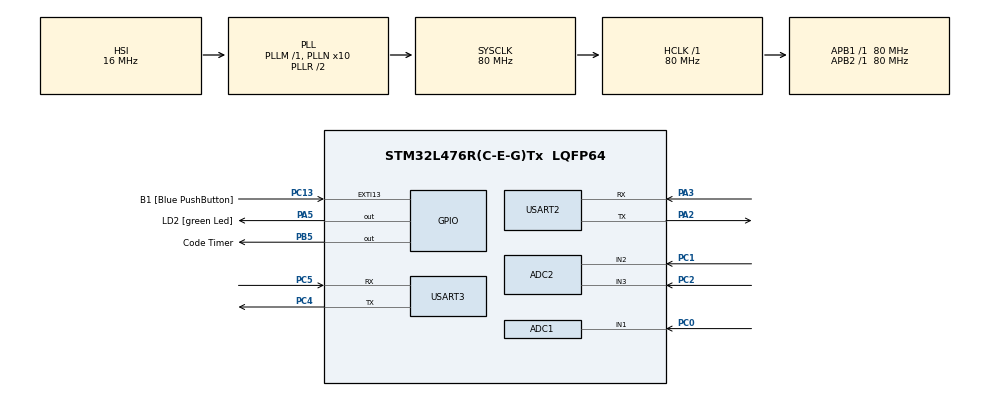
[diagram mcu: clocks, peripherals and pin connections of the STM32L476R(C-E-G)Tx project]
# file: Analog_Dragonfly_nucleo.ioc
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ADC1.Channel-3\#ChannelRegularConversion=ADC_CHANNEL_1
ADC1.ClockPrescaler=ADC_CLOCK_ASYNC_DIV64
ADC1.ContinuousConvMode=ENABLE
ADC1.DMAContinuousRequests=ENABLE
ADC1.EnableRegularConversion=ENABLE
ADC1.NbrOfConversionFlag=1
ADC1.OffsetNumber-3\#ChannelRegularConversion=ADC_OFFSET_NONE
ADC1.OversamplingMode=DISABLE
ADC1.Rank-3\#ChannelRegularConversion=1
ADC1.SamplingTime-3\#ChannelRegularConversion=ADC_SAMPLETIME_640CYCLES_5
ADC1.master=1
ADC2.Channel-0\#ChannelRegularConversion=ADC_CHANNEL_2
ADC2.Channel-1\#ChannelRegularConversion=ADC_CHANNEL_3
ADC2.ClockPrescaler=ADC_CLOCK_ASYNC_DIV64
ADC2.ContinuousConvMode=ENABLE
ADC2.NbrOfConversion=2
ADC2.NbrOfConversionFlag=1
ADC2.OffsetNumber-0\#ChannelRegularConversion=ADC_OFFSET_NONE
ADC2.OffsetNumber-1\#ChannelRegularConversion=ADC_OFFSET_NONE
ADC2.Rank-0\#ChannelRegularConversion=1
ADC2.Rank-1\#ChannelRegularConversion=2
ADC2.SamplingTime-0\#ChannelRegularConversion=ADC_SAMPLETIME_247CYCLES_5
ADC2.SamplingTime-1\#ChannelRegularConversion=ADC_SAMPLETIME_247CYCLES_5
ARM.CMSIS.5.6.0.CMSISJjCORE=true
ARM.CMSIS.5.6.0.CMSISJjDSP=Library
Dma.ADC1.0.Direction=DMA_PERIPH_TO_MEMORY
Dma.ADC1.0.Instance=DMA1_Channel1
Dma.ADC1.0.MemDataAlignment=DMA_MDATAALIGN_HALFWORD
Dma.ADC1.0.MemInc=DMA_MINC_ENABLE
Dma.ADC1.0.Mode=DMA_CIRCULAR
Dma.ADC1.0.PeriphDataAlignment=DMA_PDATAALIGN_HALFWORD
Dma.ADC1.0.PeriphInc=DMA_PINC_DISABLE
Dma.ADC1.0.Priority=DMA_PRIORITY_LOW
Dma.ADC2.1.Direction=DMA_PERIPH_TO_MEMORY
Dma.ADC2.1.Instance=DMA1_Channel2
Dma.ADC2.1.MemDataAlignment=DMA_MDATAALIGN_HALFWORD
Dma.ADC2.1.MemInc=DMA_MINC_ENABLE
Dma.ADC2.1.Mode=DMA_CIRCULAR
Dma.ADC2.1.PeriphDataAlignment=DMA_PDATAALIGN_HALFWORD
Dma.ADC2.1.PeriphInc=DMA_PINC_DISABLE
Dma.ADC2.1.Priority=DMA_PRIORITY_LOW
Dma.Request0=ADC1
Dma.Request1=ADC2
Mcu.Family=STM32L4
Mcu.Name=STM32L476R(C-E-G)Tx
Mcu.Package=LQFP64
NVIC.DMA1_Channel1_IRQn=true\:0\:0\:false\:false\:true\:false\:true
NVIC.DMA1_Channel2_IRQn=true\:0\:0\:false\:false\:true\:false\:true
NVIC.PriorityGroup=NVIC_PRIORITYGROUP_4
PA13\ (JTMS-SWDIO).GPIO_Label=TMS
PA13\ (JTMS-SWDIO).Mode=Serial_Wire
PA13\ (JTMS-SWDIO).Signal=SYS_JTMS-SWDIO
PA14\ (JTCK-SWCLK).GPIO_Label=TCK
PA14\ (JTCK-SWCLK).Mode=Serial_Wire
PA14\ (JTCK-SWCLK).Signal=SYS_JTCK-SWCLK
PA2.Mode=Asynchronous
PA2.Signal=USART2_TX
PA3.Mode=Asynchronous
PA3.Signal=USART2_RX
PA5.GPIO_Label=LD2 [green Led]
PA5.GPIO_ModeDefaultOutputPP=GPIO_MODE_OUTPUT_PP
PA5.GPIO_PuPd=GPIO_NOPULL
PA5.GPIO_Speed=GPIO_SPEED_FREQ_LOW
PA5.Signal=GPIO_Output
PB3\ (JTDO-TRACESWO).Signal=SYS_JTDO-SWO
PB5.GPIO_Label=Code Timer
PB5.GPIO_Speed=GPIO_SPEED_FREQ_VERY_HIGH
PB5.Signal=GPIO_Output
PC0.Signal=ADCx_IN1
PC1.Signal=ADCx_IN2
PC13.GPIO_Label=B1 [Blue PushButton]
PC13.GPIO_ModeDefaultEXTI=GPIO_MODE_IT_FALLING
PC13.GPIO_PuPd=GPIO_NOPULL
PC13.Signal=GPXTI13
PC14-OSC32_IN\ (PC14).Mode=LSE-External-Oscillator
PC14-OSC32_IN\ (PC14).Signal=RCC_OSC32_IN
PC15-OSC32_OUT\ (PC15).Mode=LSE-External-Oscillator
PC15-OSC32_OUT\ (PC15).Signal=RCC_OSC32_OUT
PC2.Signal=ADCx_IN3
PC4.Mode=Asynchronous
PC4.Signal=USART3_TX
PC5.Mode=Asynchronous
PC5.Signal=USART3_RX
PH0-OSC_IN\ (PH0).Signal=RCC_OSC_IN
PH1-OSC_OUT\ (PH1).Signal=RCC_OSC_OUT
ProjectManager.HeapSize=0x200
ProjectManager.StackSize=0x400
ProjectManager.TargetToolchain=STM32CubeIDE
RCC.ADCFreq_Value=64000000
RCC.AHBFreq_Value=80000000
RCC.APB1Freq_Value=80000000
RCC.APB1TimFreq_Value=80000000
RCC.APB2Freq_Value=80000000
RCC.APB2TimFreq_Value=80000000
RCC.CortexFreq_Value=80000000
RCC.HCLKFreq_Value=80000000
RCC.HSE_VALUE=8000000
RCC.HSI_VALUE=16000000
RCC.MSI_VALUE=4000000
RCC.PLLN=10
RCC.PLLSourceVirtual=RCC_PLLSOURCE_HSI
RCC.PREFETCH_ENABLE=1
RCC.SYSCLKFreq_VALUE=80000000
RCC.SYSCLKSource=RCC_SYSCLKSOURCE_PLLCLK
RCC.USBFreq_Value=64000000
RCC.VCOOutputFreq_Value=160000000
SH.ADCx_IN1.0=ADC1_IN1,IN1-Single-Ended
SH.ADCx_IN2.0=ADC2_IN2,IN2-Single-Ended
SH.ADCx_IN3.0=ADC2_IN3,IN3-Single-Ended
USART2.VirtualMode-Asynchronous=VM_ASYNC
USART3.VirtualMode-Asynchronous=VM_ASYNC
VP_ARM.CMSIS_VS_CMSISJjCORE_5.3.0.Mode=CMSISJjCORE
VP_ARM.CMSIS_VS_CMSISJjDSP_1.7.0.Mode=CMSISJjDSP
board=NUCLEO-L476RG

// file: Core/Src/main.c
/* USER CODE BEGIN Header */
/**
  ******************************************************************************
  * @file           : main.c
  * @brief          : Main program body
  ******************************************************************************
  * @attention
  *
  * <h2><center>&copy; Copyright (c) 2020 STMicroelectronics.
  * All rights reserved.</center></h2>
  *
  * This software component is licensed by ST under BSD 3-Clause license,
  * the "License"; You may not use this file except in compliance with the
  * License. You may obtain a copy of the License at:
  *                        opensource.org/licenses/BSD-3-Clause
  *
  ******************************************************************************
  */
/* USER CODE END Header */

#include "main.h"

/* USER CODE BEGIN Includes */

#include "arm_math.h"
#include "arm_const_structs.h"

/* USER CODE END Includes */

/* USER CODE BEGIN PD */

#define GEOPHONE_LENGTH_CMPLT_DMA_TRANSFER 128
#define GEOPHONE_FFT_LENGTH 64
#define GEOPHONE_BIT_DEPTH 12
/* USER CODE END PD */

ADC_HandleTypeDef hadc1;
ADC_HandleTypeDef hadc2;
DMA_HandleTypeDef hdma_adc1;
DMA_HandleTypeDef hdma_adc2;

UART_HandleTypeDef huart2;
UART_HandleTypeDef huart3;

/* USER CODE BEGIN PV */

uint32_t DMAConvCplt = 0;
uint32_t ADC1_DMAConvHalfCplt = 0;
uint32_t ADC1_DMAConvFullCplt = 0;
uint16_t geophone_half_transfer[GEOPHONE_LENGTH_CMPLT_DMA_TRANSFER/2];
float32_t geophone_half_transfer_f32[GEOPHONE_LENGTH_CMPLT_DMA_TRANSFER/2];
float32_t geophone_rolling_fft_sum[GEOPHONE_LENGTH_CMPLT_DMA_TRANSFER/4];
float32_t geophone_rolling_fft_avg[GEOPHONE_LENGTH_CMPLT_DMA_TRANSFER/4];
uint32_t geophone_new_data = 0;
uint32_t geophone_rolling_fft_sum_Ctr = 0;
float32_t tempBuffer[GEOPHONE_FFT_LENGTH/2];
float32_t geophone_rolling_average = 25.0;

float32_t firstHalf_MaxResult = 0;
uint32_t firstHalf_MaxIndex = 0;
float32_t firstHalf_meanResult = 0;
float32_t firstHalf_stdResult = 0;
float32_t firstHalf_rmsResult = 0;
float32_t firstHalf_powerResult = 0;

uint8_t ifftFlag = 0;
uint8_t bitReverseFlag = 1;
float32_t geophone_cfft_output[GEOPHONE_FFT_LENGTH*2];
float32_t geophone_cfft_output_mag[GEOPHONE_FFT_LENGTH];
uint32_t maxIndex = 0;
float32_t maxValue = 0.0;

char WELCOME_MSG[50] = "Welcome to Terminal Message from STM32\r\n";
char msg[64];

/* USER CODE END PV */

void SystemClock_Config(void);
static void MX_GPIO_Init(void);
static void MX_DMA_Init(void);
static void MX_USART2_UART_Init(void);
static void MX_ADC1_Init(void);
static void MX_ADC2_Init(void);
static void MX_USART3_UART_Init(void);

int main(void)
{

  /* MCU Configuration--------------------------------------------------------*/

  /* Reset of all peripherals, Initializes the Flash interface and the Systick. */
  HAL_Init();

  /* Configure the system clock */
  SystemClock_Config();

  /* Initialize all configured peripherals */
  MX_GPIO_Init();
  MX_DMA_Init();
  MX_USART2_UART_Init();
  MX_ADC1_Init();
  MX_ADC2_Init();
  MX_USART3_UART_Init();
  /* USER CODE BEGIN 2 */

  HAL_GPIO_WritePin(GPIOB,GPIO_PIN_5,GPIO_PIN_RESET);

  arm_status status;
  status = ARM_MATH_SUCCESS;
  uint32_t geophone_value_range = pow(2, GEOPHONE_BIT_DEPTH);

  // Start ADC DMA transfers
  HAL_ADC_Start_DMA(&hadc1, geophone_half_transfer, GEOPHONE_LENGTH_CMPLT_DMA_TRANSFER);

  /* USER CODE END 2 */

  /* Infinite loop */
  while (1)
  {

    /* USER CODE BEGIN 3 */

	  //sprintf(msg, "%d\r\n", DMAConvCplt);
	  //HAL_UART_Transmit(&huart2, (uint8_t*)msg, strlen(msg), HAL_MAX_DELAY);
	  //HAL_Delay(1000);

	  if (ADC1_DMAConvHalfCplt == 1){
		  HAL_GPIO_TogglePin(GPIOB, GPIO_PIN_5);

		  // Convert 16bit integers into 0-1 range float_32bit
		  for (uint32_t i = 0; i < GEOPHONE_LENGTH_CMPLT_DMA_TRANSFER/2; i++){
			  geophone_half_transfer_f32[i] = (float32_t)geophone_half_transfer[i] / geophone_value_range;
		  }

		  // Get basic Statistics of waveform
		  arm_mean_f32(geophone_half_transfer_f32, GEOPHONE_LENGTH_CMPLT_DMA_TRANSFER/2, &firstHalf_meanResult);
		  arm_rms_f32(geophone_half_transfer_f32, GEOPHONE_LENGTH_CMPLT_DMA_TRANSFER/2, &firstHalf_rmsResult);
		  arm_std_f32(geophone_half_transfer_f32, GEOPHONE_LENGTH_CMPLT_DMA_TRANSFER/2, &firstHalf_stdResult);
		  arm_power_f32(geophone_half_transfer_f32, GEOPHONE_LENGTH_CMPLT_DMA_TRANSFER/2, &firstHalf_powerResult);

		  // START FFT PREP
		  // Fill array with zeros
		  arm_fill_f32(0.0, &geophone_cfft_output, GEOPHONE_FFT_LENGTH*2);
		  // Fill array with geophone data, every other position, to create complex pair
		  for (int i = 0; i < GEOPHONE_FFT_LENGTH*2; i+=2){
			  geophone_cfft_output[i] = geophone_half_transfer_f32[i/2];
		  }
		  /* Process the data through the CFFT/CIFFT module */
		  arm_cfft_f32(&arm_cfft_sR_f32_len64, geophone_cfft_output, ifftFlag, bitReverseFlag);

		  /* Process the data through the Complex Magnitude Module for calculating the magnitude at each bin */
		  arm_cmplx_mag_f32(geophone_cfft_output, geophone_cfft_output_mag, GEOPHONE_FFT_LENGTH);

		  /* Calculates maxValue and returns corresponding BIN value */
		  // Skip first bin as it represents DC offset of the signal
		  arm_max_f32(&geophone_cfft_output_mag[1], (GEOPHONE_FFT_LENGTH/2), &maxValue, &maxIndex);

		  // set the flag so the rolling average functions get ran with the new data
		  geophone_new_data = 1;
		  ADC1_DMAConvHalfCplt = 0;

	 	  }
	 if (ADC1_DMAConvFullCplt == 1){
		 // Repeat FFT code from first half buffer fill above

		 ADC1_DMAConvFullCplt = 0;
	 	}

	 // Perform rolling average calculations here
	 if (geophone_new_data == 1){
		 // Add consecutive FFT outputs together
		 arm_add_f32(geophone_cfft_output_mag, geophone_rolling_fft_sum, geophone_rolling_fft_sum, (GEOPHONE_FFT_LENGTH/2));
		 geophone_rolling_fft_sum_Ctr += 1;
		 // Get avg once enough FFTs are summed
		 if (geophone_rolling_fft_sum_Ctr > geophone_rolling_average){
			 // Perform average
			 // Fill with value = (1/geophone_rolling_average)
			 arm_fill_f32((1/geophone_rolling_average), tempBuffer, (GEOPHONE_FFT_LENGTH/2));
			 // Multiply every element of the rolling_fft_sum buffer by (1/geophone_rolling_average) to get avg
			 arm_mult_f32(geophone_rolling_fft_sum, tempBuffer, geophone_rolling_fft_avg, (GEOPHONE_FFT_LENGTH/2));
			 geophone_rolling_fft_sum_Ctr = 0;
			 // fill rolling_fft_sum buffer with zeros to reset
			 arm_fill_f32(0.0, geophone_rolling_fft_sum, (GEOPHONE_FFT_LENGTH/2));
		 }
		 geophone_new_data = 0;
		 HAL_GPIO_TogglePin(GPIOB, GPIO_PIN_5);
	 }

  }
  /* USER CODE END 3 */
}

void SystemClock_Config(void)
{
  RCC_OscInitTypeDef RCC_OscInitStruct = {0};
  RCC_ClkInitTypeDef RCC_ClkInitStruct = {0};
  RCC_PeriphCLKInitTypeDef PeriphClkInit = {0};

  /** Initializes the CPU, AHB and APB busses clocks
  */
  RCC_OscInitStruct.OscillatorType = RCC_OSCILLATORTYPE_HSI;
  RCC_OscInitStruct.HSIState = RCC_HSI_ON;
  RCC_OscInitStruct.HSICalibrationValue = RCC_HSICALIBRATION_DEFAULT;
  RCC_OscInitStruct.PLL.PLLState = RCC_PLL_ON;
  RCC_OscInitStruct.PLL.PLLSource = RCC_PLLSOURCE_HSI;
  RCC_OscInitStruct.PLL.PLLM = 1;
  RCC_OscInitStruct.PLL.PLLN = 10;
  RCC_OscInitStruct.PLL.PLLP = RCC_PLLP_DIV7;
  RCC_OscInitStruct.PLL.PLLQ = RCC_PLLQ_DIV2;
  RCC_OscInitStruct.PLL.PLLR = RCC_PLLR_DIV2;
  if (HAL_RCC_OscConfig(&RCC_OscInitStruct) != HAL_OK)
  {
    Error_Handler();
  }
  /** Initializes the CPU, AHB and APB busses clocks
  */
  RCC_ClkInitStruct.ClockType = RCC_CLOCKTYPE_HCLK|RCC_CLOCKTYPE_SYSCLK
                              |RCC_CLOCKTYPE_PCLK1|RCC_CLOCKTYPE_PCLK2;
  RCC_ClkInitStruct.SYSCLKSource = RCC_SYSCLKSOURCE_PLLCLK;
  RCC_ClkInitStruct.AHBCLKDivider = RCC_SYSCLK_DIV1;
  RCC_ClkInitStruct.APB1CLKDivider = RCC_HCLK_DIV1;
  RCC_ClkInitStruct.APB2CLKDivider = RCC_HCLK_DIV1;

  if (HAL_RCC_ClockConfig(&RCC_ClkInitStruct, FLASH_LATENCY_4) != HAL_OK)
  {
    Error_Handler();
  }
  PeriphClkInit.PeriphClockSelection = RCC_PERIPHCLK_USART2|RCC_PERIPHCLK_USART3
                              |RCC_PERIPHCLK_ADC;
  PeriphClkInit.Usart2ClockSelection = RCC_USART2CLKSOURCE_PCLK1;
  PeriphClkInit.Usart3ClockSelection = RCC_USART3CLKSOURCE_PCLK1;
  PeriphClkInit.AdcClockSelection = RCC_ADCCLKSOURCE_PLLSAI1;
  PeriphClkInit.PLLSAI1.PLLSAI1Source = RCC_PLLSOURCE_HSI;
  PeriphClkInit.PLLSAI1.PLLSAI1M = 1;
  PeriphClkInit.PLLSAI1.PLLSAI1N = 8;
  PeriphClkInit.PLLSAI1.PLLSAI1P = RCC_PLLP_DIV7;
  PeriphClkInit.PLLSAI1.PLLSAI1Q = RCC_PLLQ_DIV2;
  PeriphClkInit.PLLSAI1.PLLSAI1R = RCC_PLLR_DIV2;
  PeriphClkInit.PLLSAI1.PLLSAI1ClockOut = RCC_PLLSAI1_ADC1CLK;
  if (HAL_RCCEx_PeriphCLKConfig(&PeriphClkInit) != HAL_OK)
  {
    Error_Handler();
  }
  /** Configure the main internal regulator output voltage
  */
  if (HAL_PWREx_ControlVoltageScaling(PWR_REGULATOR_VOLTAGE_SCALE1) != HAL_OK)
  {
    Error_Handler();
  }
}

static void MX_ADC1_Init(void)
{

  ADC_MultiModeTypeDef multimode = {0};
  ADC_ChannelConfTypeDef sConfig = {0};

  /** Common config
  */
  hadc1.Instance = ADC1;
  hadc1.Init.ClockPrescaler = ADC_CLOCK_ASYNC_DIV64;
  hadc1.Init.Resolution = ADC_RESOLUTION_12B;
  hadc1.Init.DataAlign = ADC_DATAALIGN_RIGHT;
  hadc1.Init.ScanConvMode = ADC_SCAN_DISABLE;
  hadc1.Init.EOCSelection = ADC_EOC_SINGLE_CONV;
  hadc1.Init.LowPowerAutoWait = DISABLE;
  hadc1.Init.ContinuousConvMode = ENABLE;
  hadc1.Init.NbrOfConversion = 1;
  hadc1.Init.DiscontinuousConvMode = DISABLE;
  hadc1.Init.NbrOfDiscConversion = 1;
  hadc1.Init.ExternalTrigConv = ADC_SOFTWARE_START;
  hadc1.Init.ExternalTrigConvEdge = ADC_EXTERNALTRIGCONVEDGE_NONE;
  hadc1.Init.DMAContinuousRequests = ENABLE;
  hadc1.Init.Overrun = ADC_OVR_DATA_PRESERVED;
  hadc1.Init.OversamplingMode = DISABLE;
  if (HAL_ADC_Init(&hadc1) != HAL_OK)
  {
    Error_Handler();
  }
  /** Configure the ADC multi-mode
  */
  multimode.Mode = ADC_MODE_INDEPENDENT;
  if (HAL_ADCEx_MultiModeConfigChannel(&hadc1, &multimode) != HAL_OK)
  {
    Error_Handler();
  }
  /** Configure Regular Channel
  */
  sConfig.Channel = ADC_CHANNEL_1;
  sConfig.Rank = ADC_REGULAR_RANK_1;
  sConfig.SamplingTime = ADC_SAMPLETIME_640CYCLES_5;
  sConfig.SingleDiff = ADC_SINGLE_ENDED;
  sConfig.OffsetNumber = ADC_OFFSET_NONE;
  sConfig.Offset = 0;
  if (HAL_ADC_ConfigChannel(&hadc1, &sConfig) != HAL_OK)
  {
    Error_Handler();
  }

}

static void MX_ADC2_Init(void)
{

  ADC_ChannelConfTypeDef sConfig = {0};

  /** Common config
  */
  hadc2.Instance = ADC2;
  hadc2.Init.ClockPrescaler = ADC_CLOCK_ASYNC_DIV64;
  hadc2.Init.Resolution = ADC_RESOLUTION_12B;
  hadc2.Init.DataAlign = ADC_DATAALIGN_RIGHT;
  hadc2.Init.ScanConvMode = ADC_SCAN_ENABLE;
  hadc2.Init.EOCSelection = ADC_EOC_SINGLE_CONV;
  hadc2.Init.LowPowerAutoWait = DISABLE;
  hadc2.Init.ContinuousConvMode = ENABLE;
  hadc2.Init.NbrOfConversion = 2;
  hadc2.Init.DiscontinuousConvMode = DISABLE;
  hadc2.Init.NbrOfDiscConversion = 1;
  hadc2.Init.ExternalTrigConv = ADC_SOFTWARE_START;
  hadc2.Init.ExternalTrigConvEdge = ADC_EXTERNALTRIGCONVEDGE_NONE;
  hadc2.Init.DMAContinuousRequests = DISABLE;
  hadc2.Init.Overrun = ADC_OVR_DATA_PRESERVED;
  hadc2.Init.OversamplingMode = DISABLE;
  if (HAL_ADC_Init(&hadc2) != HAL_OK)
  {
    Error_Handler();
  }
  /** Configure Regular Channel
  */
  sConfig.Channel = ADC_CHANNEL_2;
  sConfig.Rank = ADC_REGULAR_RANK_1;
  sConfig.SamplingTime = ADC_SAMPLETIME_247CYCLES_5;
  sConfig.SingleDiff = ADC_SINGLE_ENDED;
  sConfig.OffsetNumber = ADC_OFFSET_NONE;
  sConfig.Offset = 0;
  if (HAL_ADC_ConfigChannel(&hadc2, &sConfig) != HAL_OK)
  {
    Error_Handler();
  }
  /** Configure Regular Channel
  */
  sConfig.Channel = ADC_CHANNEL_3;
  sConfig.Rank = ADC_REGULAR_RANK_2;
  if (HAL_ADC_ConfigChannel(&hadc2, &sConfig) != HAL_OK)
  {
    Error_Handler();
  }

}

static void MX_USART2_UART_Init(void)
{

  huart2.Instance = USART2;
  huart2.Init.BaudRate = 115200;
  huart2.Init.WordLength = UART_WORDLENGTH_8B;
  huart2.Init.StopBits = UART_STOPBITS_1;
  huart2.Init.Parity = UART_PARITY_NONE;
  huart2.Init.Mode = UART_MODE_TX_RX;
  huart2.Init.HwFlowCtl = UART_HWCONTROL_NONE;
  huart2.Init.OverSampling = UART_OVERSAMPLING_16;
  huart2.Init.OneBitSampling = UART_ONE_BIT_SAMPLE_DISABLE;
  huart2.AdvancedInit.AdvFeatureInit = UART_ADVFEATURE_NO_INIT;
  if (HAL_UART_Init(&huart2) != HAL_OK)
  {
    Error_Handler();
  }

}

static void MX_USART3_UART_Init(void)
{

  huart3.Instance = USART3;
  huart3.Init.BaudRate = 115200;
  huart3.Init.WordLength = UART_WORDLENGTH_8B;
  huart3.Init.StopBits = UART_STOPBITS_1;
  huart3.Init.Parity = UART_PARITY_NONE;
  huart3.Init.Mode = UART_MODE_TX_RX;
  huart3.Init.HwFlowCtl = UART_HWCONTROL_NONE;
  huart3.Init.OverSampling = UART_OVERSAMPLING_16;
  huart3.Init.OneBitSampling = UART_ONE_BIT_SAMPLE_DISABLE;
  huart3.AdvancedInit.AdvFeatureInit = UART_ADVFEATURE_NO_INIT;
  if (HAL_UART_Init(&huart3) != HAL_OK)
  {
    Error_Handler();
  }

}

static void MX_DMA_Init(void)
{

  /* DMA controller clock enable */
  __HAL_RCC_DMA1_CLK_ENABLE();

  /* DMA interrupt init */
  /* DMA1_Channel1_IRQn interrupt configuration */
  HAL_NVIC_SetPriority(DMA1_Channel1_IRQn, 0, 0);
  HAL_NVIC_EnableIRQ(DMA1_Channel1_IRQn);
  /* DMA1_Channel2_IRQn interrupt configuration */
  HAL_NVIC_SetPriority(DMA1_Channel2_IRQn, 0, 0);
  HAL_NVIC_EnableIRQ(DMA1_Channel2_IRQn);

}

static void MX_GPIO_Init(void)
{
  GPIO_InitTypeDef GPIO_InitStruct = {0};

  /* GPIO Ports Clock Enable */
  __HAL_RCC_GPIOC_CLK_ENABLE();
  __HAL_RCC_GPIOH_CLK_ENABLE();
  __HAL_RCC_GPIOA_CLK_ENABLE();
  __HAL_RCC_GPIOB_CLK_ENABLE();

  /*Configure GPIO pin Output Level */
  HAL_GPIO_WritePin(LD2_GPIO_Port, LD2_Pin, GPIO_PIN_RESET);

  /*Configure GPIO pin Output Level */
  HAL_GPIO_WritePin(Code_Timer_GPIO_Port, Code_Timer_Pin, GPIO_PIN_RESET);

  /*Configure GPIO pin : B1_Pin */
  GPIO_InitStruct.Pin = B1_Pin;
  GPIO_InitStruct.Mode = GPIO_MODE_IT_FALLING;
  GPIO_InitStruct.Pull = GPIO_NOPULL;
  HAL_GPIO_Init(B1_GPIO_Port, &GPIO_InitStruct);

  /*Configure GPIO pin : LD2_Pin */
  GPIO_InitStruct.Pin = LD2_Pin;
  GPIO_InitStruct.Mode = GPIO_MODE_OUTPUT_PP;
  GPIO_InitStruct.Pull = GPIO_NOPULL;
  GPIO_InitStruct.Speed = GPIO_SPEED_FREQ_LOW;
  HAL_GPIO_Init(LD2_GPIO_Port, &GPIO_InitStruct);

  /*Configure GPIO pin : Code_Timer_Pin */
  GPIO_InitStruct.Pin = Code_Timer_Pin;
  GPIO_InitStruct.Mode = GPIO_MODE_OUTPUT_PP;
  GPIO_InitStruct.Pull = GPIO_NOPULL;
  GPIO_InitStruct.Speed = GPIO_SPEED_FREQ_VERY_HIGH;
  HAL_GPIO_Init(Code_Timer_GPIO_Port, &GPIO_InitStruct);

}

/* USER CODE BEGIN 4 */

void HAL_ADC_ConvHalfCpltCallback(ADC_HandleTypeDef *hadc){

	ADC1_DMAConvHalfCplt = 1;

}

void HAL_ADC_ConvCpltCallback(ADC_HandleTypeDef *hadc){

	DMAConvCplt += 1;
	ADC1_DMAConvFullCplt = 1;

}

/* USER CODE END 4 */

void Error_Handler(void)
{
}

/************************ (C) COPYRIGHT STMicroelectronics *****END OF FILE****/
